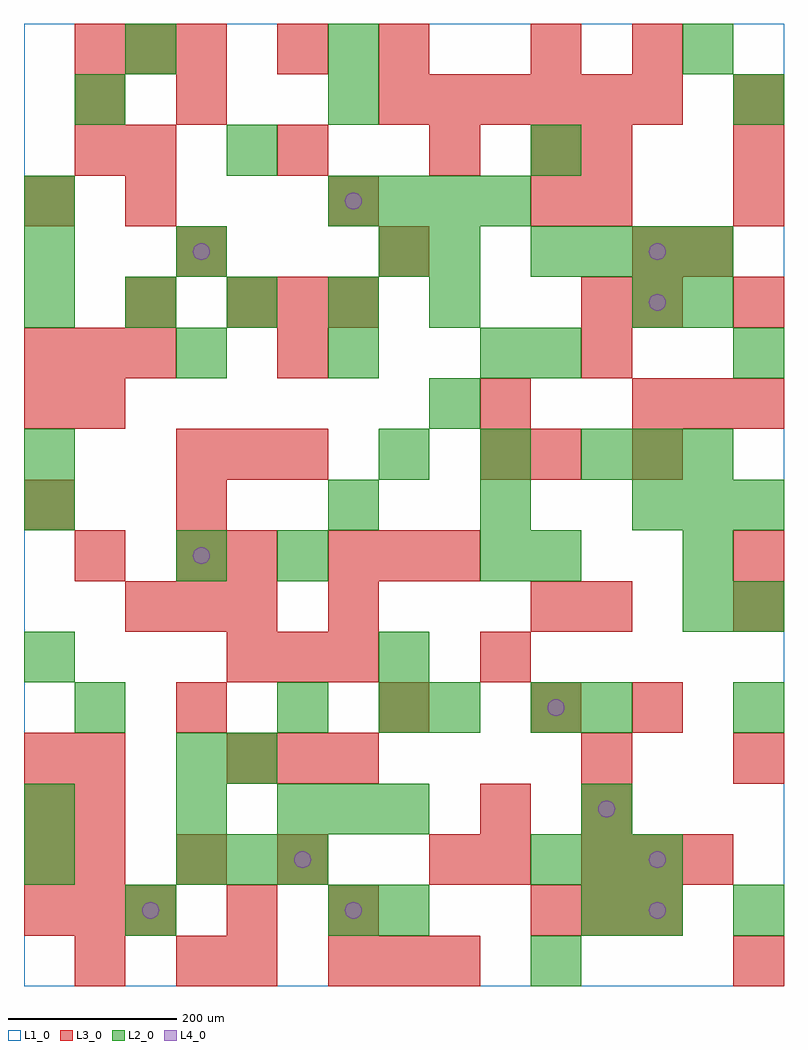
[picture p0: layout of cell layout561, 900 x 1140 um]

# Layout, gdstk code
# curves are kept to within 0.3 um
import gdstk
lib = gdstk.Library(unit=1e-6, precision=1e-09)
def R(c, l, rs):  # rectangles x0, y0, x1, y1
    for r in rs: c.add(gdstk.rectangle(r[:2], r[2:], *l))
def A(c, l, x, y, w, h, nx, ny, dx, dy):  # array of equal rectangles
    R(c, l, [(x+i*dx, y+j*dy, x+i*dx+w, y+j*dy+h) for i in range(nx) for j in range(ny)])
def P(c, l, *ps):  # polygons
    for p in ps: c.add(gdstk.Polygon(p, *l))
L1_0 = (1, 0)
L2_0 = (2, 0)
L3_0 = (3, 0)
L4_0 = (4, 0)

layout561 = lib.new_cell('layout561')
R(layout561, L1_0, [(0,0,900,1140)])
A(layout561, L2_0, 660, 60, 60, 60, 1, 3, 0, 120)
A(layout561, L2_0, 180, 120, 60, 60, 3, 1, 60, 0)
A(layout561, L2_0, 600, 120, 60, 60, 3, 1, 60, 0)
A(layout561, L2_0, 0, 180, 60, 60, 1, 3, 0, 180)
A(layout561, L2_0, 300, 180, 60, 60, 3, 1, 60, 0)
A(layout561, L2_0, 840, 300, 60, 60, 1, 3, 0, 120)
A(layout561, L2_0, 780, 420, 60, 60, 1, 4, 0, 60)
A(layout561, L2_0, 600, 480, 60, 60, 1, 3, 0, 240)
A(layout561, L2_0, 360, 540, 60, 60, 3, 1, 180, 0)
A(layout561, L2_0, 420, 600, 60, 60, 3, 1, 120, 0)
A(layout561, L2_0, 180, 720, 60, 60, 3, 1, 180, 0)
A(layout561, L2_0, 0, 780, 60, 60, 5, 1, 120, 0)
A(layout561, L2_0, 600, 840, 60, 60, 4, 1, 60, 0)
A(layout561, L2_0, 360, 900, 60, 60, 4, 1, 60, 0)
R(layout561, L2_0, [(600,0,660,60), (120,60,180,120), (360,60,420,120), (420,60,480,120), (720,60,780,120), (840,60,900,120), (0,120,60,180), (180,180,240,240), (180,240,240,300), (240,240,300,300), (60,300,120,360), (300,300,360,360), (420,300,480,360), (480,300,540,360), (600,300,660,360), (420,360,480,420), (180,480,240,540), (300,480,360,540), (540,480,600,540), (0,600,60,660), (720,600,780,660), (480,660,540,720), (840,720,900,780), (720,780,780,840), (780,780,840,840), (0,840,60,900), (180,840,240,900), (420,840,480,900), (480,840,540,900), (0,900,60,960), (240,960,300,1020), (60,1020,120,1080), (360,1020,420,1080), (840,1020,900,1080), (120,1080,180,1140), (360,1080,420,1140), (780,1080,840,1140)])
A(layout561, L3_0, 360, 0, 60, 60, 3, 2, 60, 480)
A(layout561, L3_0, 0, 60, 60, 60, 3, 2, 60, 660)
A(layout561, L3_0, 600, 60, 60, 60, 3, 1, 60, 0)
A(layout561, L3_0, 0, 120, 60, 60, 1, 3, 0, 60)
A(layout561, L3_0, 60, 120, 60, 60, 3, 1, 120, 0)
A(layout561, L3_0, 660, 120, 60, 60, 3, 1, 60, 0)
A(layout561, L3_0, 240, 240, 60, 60, 3, 2, 60, 120)
A(layout561, L3_0, 120, 420, 60, 60, 3, 1, 60, 0)
A(layout561, L3_0, 180, 600, 60, 60, 3, 1, 60, 0)
A(layout561, L3_0, 720, 660, 60, 60, 3, 1, 60, 0)
A(layout561, L3_0, 240, 780, 60, 60, 3, 1, 60, 0)
A(layout561, L3_0, 120, 900, 60, 60, 3, 1, 240, 0)
A(layout561, L3_0, 840, 900, 60, 60, 1, 3, 0, 60)
A(layout561, L3_0, 120, 960, 60, 60, 3, 1, 180, 0)
A(layout561, L3_0, 420, 1020, 60, 60, 6, 1, 60, 0)
A(layout561, L3_0, 60, 1080, 60, 60, 3, 1, 60, 0)
R(layout561, L3_0, [(60,0,120,60), (180,0,240,60), (240,0,300,60), (840,0,900,60), (240,60,300,120), (360,60,420,120), (480,120,540,180), (540,120,600,180), (60,180,120,240), (540,180,600,240), (660,180,720,240), (60,240,120,300), (660,240,720,300), (840,240,900,300), (180,300,240,360), (420,300,480,360), (600,300,660,360), (720,300,780,360), (540,360,600,420), (360,420,420,480), (600,420,660,480), (660,420,720,480), (840,420,900,480), (60,480,120,540), (180,480,240,540), (240,480,300,540), (840,480,900,540), (0,540,60,600), (180,540,240,600), (540,600,600,660), (600,600,660,660), (720,600,780,660), (0,660,60,720), (60,660,120,720), (540,660,600,720), (300,720,360,780), (660,720,720,780), (120,780,180,840), (660,780,720,840), (720,780,780,840), (840,780,900,840), (180,840,240,900), (420,840,480,900), (720,840,780,900), (780,840,840,900), (0,900,60,960), (660,900,720,960), (60,960,120,1020), (600,960,660,1020), (660,960,720,1020), (60,1020,120,1080), (180,1020,240,1080), (300,1080,360,1140), (420,1080,480,1140), (600,1080,660,1140), (720,1080,780,1140)])
P(layout561, L4_0, [(160,90),(159.239,93.827),(157.071,97.071),(153.827,99.239),(150,100),(146.173,99.239),(142.929,97.071),(140.761,93.827),(140,90),(140.761,86.173),(142.929,82.929),(146.173,80.761),(150,80),(153.827,80.761),(157.071,82.929),(159.239,86.173)],
  [(220,510),(219.239,513.827),(217.071,517.071),(213.827,519.239),(210,520),(206.173,519.239),(202.929,517.071),(200.761,513.827),(200,510),(200.761,506.173),(202.929,502.929),(206.173,500.761),(210,500),(213.827,500.761),(217.071,502.929),(219.239,506.173)],
  [(220,870),(219.239,873.827),(217.071,877.071),(213.827,879.239),(210,880),(206.173,879.239),(202.929,877.071),(200.761,873.827),(200,870),(200.761,866.173),(202.929,862.929),(206.173,860.761),(210,860),(213.827,860.761),(217.071,862.929),(219.239,866.173)],
  [(340,150),(339.239,153.827),(337.071,157.071),(333.827,159.239),(330,160),(326.173,159.239),(322.929,157.071),(320.761,153.827),(320,150),(320.761,146.173),(322.929,142.929),(326.173,140.761),(330,140),(333.827,140.761),(337.071,142.929),(339.239,146.173)],
  [(400,90),(399.239,93.827),(397.071,97.071),(393.827,99.239),(390,100),(386.173,99.239),(382.929,97.071),(380.761,93.827),(380,90),(380.761,86.173),(382.929,82.929),(386.173,80.761),(390,80),(393.827,80.761),(397.071,82.929),(399.239,86.173)],
  [(400,930),(399.239,933.827),(397.071,937.071),(393.827,939.239),(390,940),(386.173,939.239),(382.929,937.071),(380.761,933.827),(380,930),(380.761,926.173),(382.929,922.929),(386.173,920.761),(390,920),(393.827,920.761),(397.071,922.929),(399.239,926.173)],
  [(640,330),(639.239,333.827),(637.071,337.071),(633.827,339.239),(630,340),(626.173,339.239),(622.929,337.071),(620.761,333.827),(620,330),(620.761,326.173),(622.929,322.929),(626.173,320.761),(630,320),(633.827,320.761),(637.071,322.929),(639.239,326.173)],
  [(700,210),(699.239,213.827),(697.071,217.071),(693.827,219.239),(690,220),(686.173,219.239),(682.929,217.071),(680.761,213.827),(680,210),(680.761,206.173),(682.929,202.929),(686.173,200.761),(690,200),(693.827,200.761),(697.071,202.929),(699.239,206.173)],
  [(760,90),(759.239,93.827),(757.071,97.071),(753.827,99.239),(750,100),(746.173,99.239),(742.929,97.071),(740.761,93.827),(740,90),(740.761,86.173),(742.929,82.929),(746.173,80.761),(750,80),(753.827,80.761),(757.071,82.929),(759.239,86.173)],
  [(760,150),(759.239,153.827),(757.071,157.071),(753.827,159.239),(750,160),(746.173,159.239),(742.929,157.071),(740.761,153.827),(740,150),(740.761,146.173),(742.929,142.929),(746.173,140.761),(750,140),(753.827,140.761),(757.071,142.929),(759.239,146.173)],
  [(760,810),(759.239,813.827),(757.071,817.071),(753.827,819.239),(750,820),(746.173,819.239),(742.929,817.071),(740.761,813.827),(740,810),(740.761,806.173),(742.929,802.929),(746.173,800.761),(750,800),(753.827,800.761),(757.071,802.929),(759.239,806.173)],
  [(760,870),(759.239,873.827),(757.071,877.071),(753.827,879.239),(750,880),(746.173,879.239),(742.929,877.071),(740.761,873.827),(740,870),(740.761,866.173),(742.929,862.929),(746.173,860.761),(750,860),(753.827,860.761),(757.071,862.929),(759.239,866.173)])

lib.write_gds('layout561.gds')
